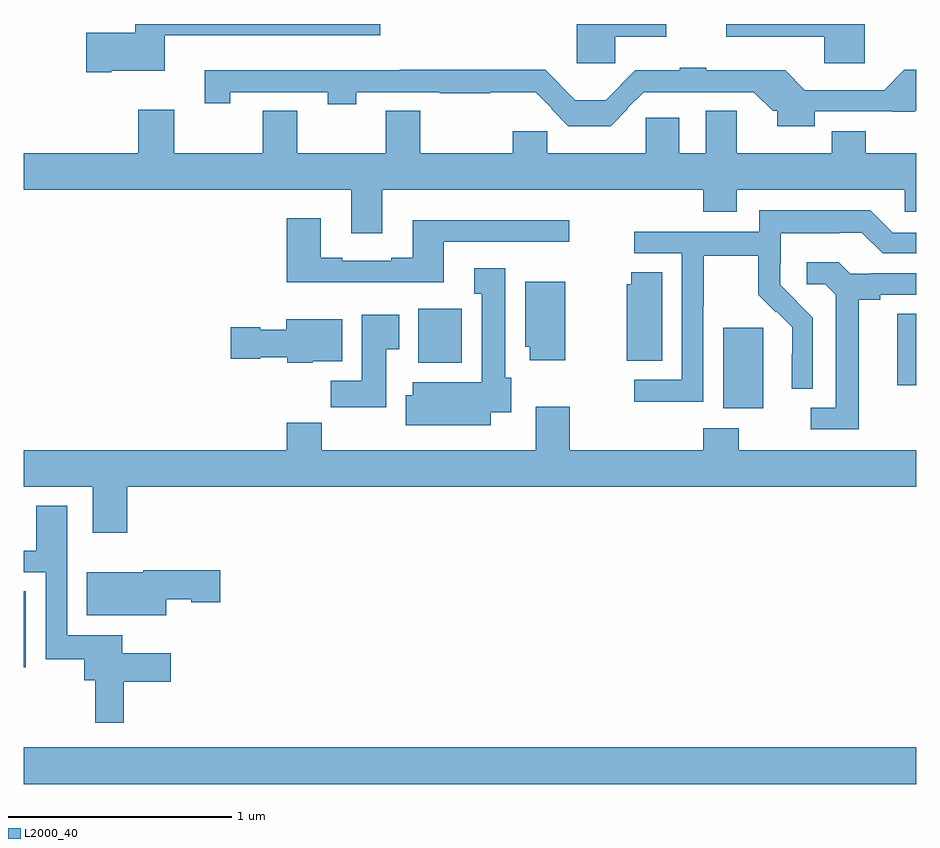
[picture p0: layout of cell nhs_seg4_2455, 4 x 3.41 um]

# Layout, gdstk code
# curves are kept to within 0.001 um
import gdstk
lib = gdstk.Library(unit=1e-6, precision=1e-09)
def R(c, l, rs):  # rectangles x0, y0, x1, y1
    for r in rs: c.add(gdstk.rectangle(r[:2], r[2:], *l))
def P(c, l, *ps):  # polygons
    for p in ps: c.add(gdstk.Polygon(p, *l))
L2000_40 = (2000, 40)

nhs_seg4_2455 = lib.new_cell('nhs_seg4_2455')
R(nhs_seg4_2455, L2000_40, [(239,791.492,243,791.656), (239,792.015,239.008,792.356), (242.135,793.178,242.314,793.539), (242.915,793.281,243,793.601), (240.767,793.382,240.964,793.624)])
P(nhs_seg4_2455, L2000_40, [(239.392,794.69),(239.632,794.69),(239.632,794.849),(240.598,794.849),(240.598,794.9),(239.498,794.9),(239.498,794.861),(239.28,794.861),(239.28,794.683),(239.392,794.683)],
  [(241.652,794.843),(241.879,794.843),(241.879,794.9),(241.478,794.9),(241.478,794.724),(241.652,794.724)],
  [(242.771,794.9),(242.148,794.9),(242.148,794.843),(242.588,794.843),(242.588,794.724),(242.771,794.724)],
  [(241.708,794.519),(241.706,794.522),(241.779,794.595),(242.273,794.595),(242.357,794.511),(242.378,794.511),(242.378,794.442),(242.545,794.442),(242.545,794.508),(242.994,794.507),(243,794.513),(243,794.694),(242.947,794.694),(242.858,794.604),(242.502,794.604),(242.414,794.692),(242.06,794.692),(242.06,794.704),(241.94,794.704),(241.94,794.692),(241.741,794.692),(241.608,794.559),(241.473,794.559),(241.338,794.694),(240.685,794.694),(240.685,794.692),(239.811,794.692),(239.811,794.544),(239.924,794.544),(239.924,794.595),(240.363,794.595),(240.363,794.54),(240.491,794.54),(240.491,794.595),(240.865,794.595),(240.865,794.59),(241.09,794.59),(241.09,794.594),(241.294,794.594),(241.367,794.522),(241.364,794.519),(241.441,794.441),(241.631,794.441)],
  [(240.607,794.156),(242.045,794.156),(242.045,794.057),(242.197,794.057),(242.197,794.156),(242.949,794.156),(242.949,794.058),(243,794.058),(243,794.32),(242.775,794.32),(242.775,794.418),(242.623,794.418),(242.623,794.32),(242.197,794.32),(242.197,794.51),(242.057,794.51),(242.057,794.32),(241.939,794.32),(241.939,794.479),(241.788,794.479),(241.788,794.32),(241.346,794.32),(241.346,794.418),(241.192,794.418),(241.192,794.32),(240.777,794.32),(240.777,794.51),(240.622,794.51),(240.622,794.32),(240.225,794.32),(240.225,794.51),(240.07,794.51),(240.07,794.32),(239.673,794.32),(239.673,794.515),(239.513,794.515),(239.513,794.32),(239,794.32),(239,794.156),(240.467,794.156),(240.467,793.962),(240.607,793.962)],
  [(242.046,793.636),(242.049,793.636),(242.049,793.86),(242.293,793.86),(242.293,793.685),(242.37,793.608),(242.373,793.611),(242.444,793.541),(242.444,793.418),(242.442,793.418),(242.442,793.264),(242.538,793.264),(242.538,793.582),(242.392,793.73),(242.392,793.827),(242.394,793.827),(242.394,793.961),(242.657,793.961),(242.657,793.965),(242.757,793.965),(242.85,793.872),(243,793.872),(243,793.965),(242.895,793.965),(242.795,794.065),(242.298,794.065),(242.298,793.968),(241.737,793.968),(241.737,793.872),(241.95,793.872),(241.95,793.305),(241.737,793.305),(241.737,793.207),(242.046,793.207)],
  [(240.883,793.923),(241.444,793.923),(241.444,794.02),(240.743,794.02),(240.743,793.852),(240.647,793.852),(240.647,793.839),(240.427,793.839),(240.427,793.852),(240.331,793.852),(240.331,794.029),(240.179,794.029),(240.179,793.742),(240.883,793.742)],
  [(242.743,793.664),(242.839,793.664),(242.839,793.686),(243,793.686),(243,793.782),(242.8,793.782),(242.8,793.779),(242.706,793.779),(242.654,793.831),(242.511,793.831),(242.511,793.734),(242.592,793.734),(242.639,793.687),(242.639,793.179),(242.529,793.179),(242.529,793.083),(242.743,793.083)],
  [(241.093,793.16),(241.186,793.16),(241.186,793.314),(241.159,793.314),(241.159,793.804),(241.019,793.804),(241.019,793.691),(241.052,793.691),(241.052,793.294),(240.743,793.294),(240.743,793.235),(240.713,793.235),(240.713,793.1),(241.093,793.1)],
  [(241.861,793.787),(241.723,793.787),(241.723,793.734),(241.703,793.734),(241.703,793.39),(241.861,793.39)],
  [(241.426,793.744),(241.247,793.744),(241.247,793.452),(241.268,793.452),(241.268,793.392),(241.426,793.392)],
  [(240.625,793.441),(240.682,793.441),(240.682,793.597),(240.515,793.597),(240.515,793.3),(240.376,793.3),(240.376,793.182),(240.625,793.182)],
  [(240.294,793.388),(240.427,793.388),(240.427,793.576),(240.176,793.576),(240.176,793.528),(240.06,793.528),(240.06,793.541),(239.928,793.541),(239.928,793.399),(240.06,793.399),(240.06,793.406),(240.18,793.406),(240.18,793.382),(240.294,793.382)],
  [(239.462,792.824),(243,792.824),(243,792.988),(242.205,792.988),(242.205,793.087),(242.045,793.087),(242.045,792.988),(241.448,792.988),(241.448,793.183),(241.295,793.183),(241.295,792.988),(240.335,792.988),(240.335,793.112),(240.179,793.112),(240.179,792.988),(239,792.988),(239,792.824),(239.309,792.824),(239.309,792.618),(239.462,792.618)],
  [(239.447,791.95),(239.659,791.95),(239.659,792.079),(239.441,792.079),(239.441,792.159),(239.193,792.159),(239.193,792.739),(239.054,792.739),(239.054,792.537),(239,792.537),(239,792.441),(239.097,792.441),(239.097,792.051),(239.27,792.051),(239.27,791.957),(239.319,791.957),(239.319,791.766),(239.447,791.766)],
  [(239.638,792.32),(239.751,792.32),(239.751,792.308),(239.881,792.308),(239.881,792.45),(239.534,792.45),(239.534,792.442),(239.282,792.442),(239.282,792.248),(239.638,792.248)])

lib.write_gds('nhs_seg4_2455.gds')
